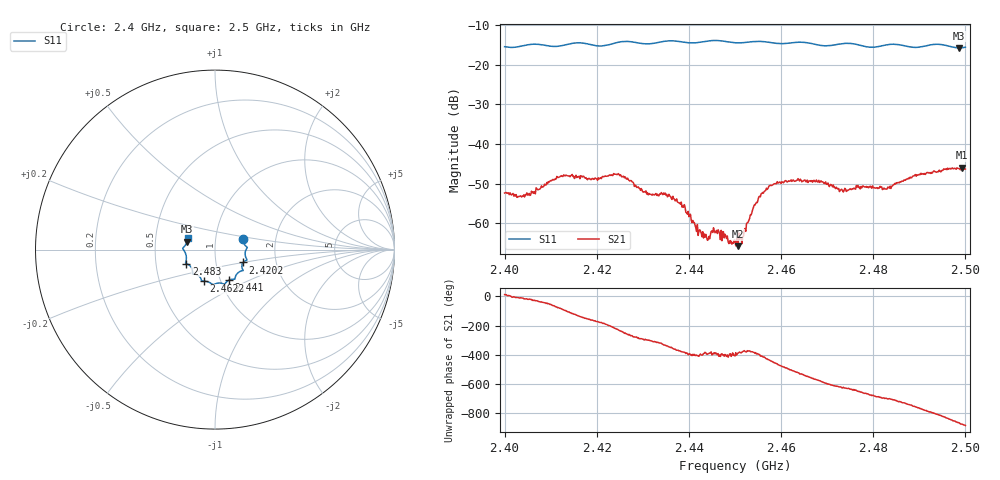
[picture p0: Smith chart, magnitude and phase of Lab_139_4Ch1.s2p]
# Hz S RI R 50
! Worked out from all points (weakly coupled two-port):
!   601 points, 2.4 GHz to 2.5 GHz, reference 50 ohm
!   highest |S21| = -45.99 dB at 2.4992 GHz (marker M1); lowest = -65.8 dB at 2.4507 GHz (marker M2)
!   lowest |S11| = -15.8 dB at 2.4987 GHz (marker M3), VSWR 1.39, Z = 36.4 + j3.28 ohm
!   |S11| at or under -10 dB: start of sweep to end of sweep
!   S12 and S22 are empty: the file has one direction only
!   S11 on the Smith chart (normalised r, x): 2.4 GHz: 1.36, +0.17; 2.4202 GHz: 1.35, -0.20; 2.441 GHz: 1.09, -0.39; 2.4622 GHz: 0.83, -0.30; 2.483 GHz: 0.72, -0.12; 2.5 GHz: 0.73, +0.09
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2.4e9  0.1564 0.06  0.00234 0.000553  0 0  0 0
2.403833e9  0.1705 0.0207  0.00216 -0.000424  0 0  0 0
2.411833e9  0.168 -0.0287  0.000745 -0.00375  0 0  0 0
2.416667e9  0.1776 -0.0584  -0.00304 -0.00248  0 0  0 0
2.420167e9  0.156 -0.0719  -0.00344 -0.00057  0 0  0 0
2.424667e9  0.1547 -0.1112  -0.00278 0.00318  0 0  0 0
2.433333e9  0.113 -0.1524  0.00157 0.00158  0 0  0 0
2.437833e9  0.1046 -0.1647  0.00177 -0.000359  0 0  0 0
2.441e9  0.0768 -0.1707  0.000766 -0.00068  0 0  0 0
2.443667e9  0.0583 -0.1874  0.000663 -0.0003  0 0  0 0
2.445833e9  0.052 -0.194  0.000712 -0.000338  0 0  0 0
2.45e9  0.0267 -0.1861  0.000413 -0.000439  0 0  0 0
2.450667e9  0.0201 -0.1863  0.000458 -0.000237  0 0  0 0
2.455667e9  -0.0126 -0.1947  0.00164 -0.00168  0 0  0 0
2.462167e9  -0.0632 -0.1763  -0.00275 -0.00221  0 0  0 0
2.466667e9  -0.0765 -0.1668  -0.00329 0.00107  0 0  0 0
2.473167e9  -0.122 -0.1365  -0.000321 0.00266  0 0  0 0
2.483e9  -0.1592 -0.0779  0.00252 0.000995  0 0  0 0
2.483333e9  -0.1608 -0.0773  0.00266 0.000985  0 0  0 0
2.498667e9  -0.1557 0.0438  -0.00393 -0.0029  0 0  0 0
2.499167e9  -0.1542 0.051  -0.00445 -0.00231  0 0  0 0
2.5e9  -0.153 0.0626  -0.00459 -0.00151  0 0  0 0
